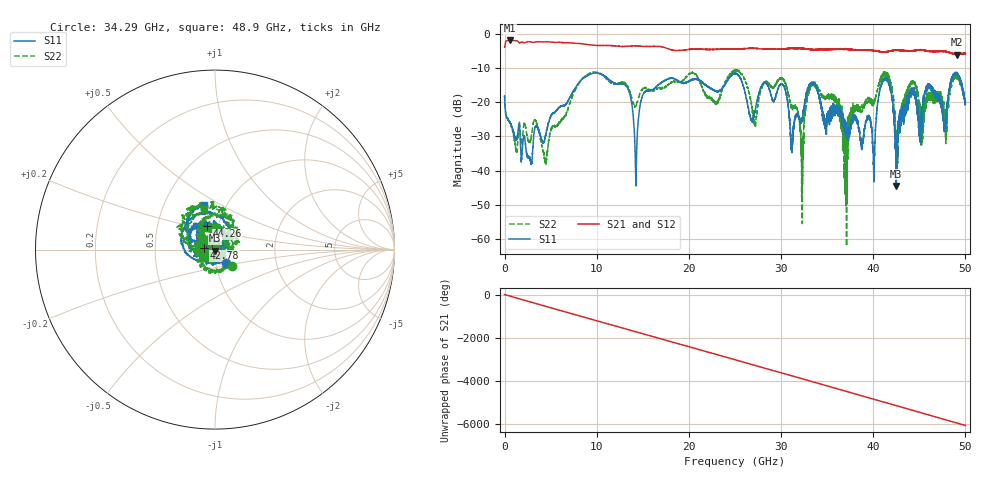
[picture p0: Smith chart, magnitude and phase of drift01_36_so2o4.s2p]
!Created with skrf (http://scikit-rf.org).
# Hz S RI R 50.0
!freq ReS11 ImS11 ReS21 ImS21 ReS12 ImS12 ReS22 ImS22
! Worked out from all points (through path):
!   10001 points, 300 kHz to 50 GHz, reference 50 ohm
!   highest |S21| = -2.00 dB at 570.3 MHz (marker M1); lowest = -6.1 dB at 49.05 GHz (marker M2)
!   group delay of S21, straight-line fit = 336 ps
!   lowest |S11| = -44.5 dB at 42.49 GHz (marker M3), VSWR 1.01, Z = 49.7 - j0.537 ohm
!   |S11| at or under -10 dB: start of sweep to end of sweep
!   |S22| runs from -62.0 to -10.6 dB; largest |S21 - S12| = 0.017
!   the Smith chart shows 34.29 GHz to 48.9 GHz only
!   S11 on the Smith chart (normalised r, x): 34.29 GHz: 1.12, -0.16; 42.78 GHz: 0.89, +0.02; 44.26 GHz: 0.88, +0.24; 48.9 GHz: 0.78, +0.42
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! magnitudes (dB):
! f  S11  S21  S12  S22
! 300 kHz  -18.3  -4.0  -4.0  -18.0
! 570.3 MHz  -25.9  -2.0  -2.0  -26.0
! 4.44 GHz  -29.8  -2.4  -2.4  -37.5
! 8.335 GHz  -13.5  -3.0  -3.0  -13.5
! 13.17 GHz  -15.1  -3.7  -3.7  -14.6
! 14.25 GHz  -44.4  -3.6  -3.6  -21.1
! 16.67 GHz  -14.9  -3.7  -3.7  -15.9
! 25 GHz  -11.6  -4.5  -4.6  -11.0
! 27.15 GHz  -22.6  -4.3  -4.3  -26.0
! 30.22 GHz  -15.1  -4.5  -4.5  -13.2
! 32.25 GHz  -25.2  -4.3  -4.3  -37.6
! 33.34 GHz  -14.2  -4.6  -4.6  -14.8
! 34.29 GHz  -20.5  -4.6  -4.7  -17.7
! 37.04 GHz  -26.9  -4.6  -4.5  -28.5
! 40.06 GHz  -41.8  -4.9  -5.0  -20.2
! 41.67 GHz  -14.2  -5.2  -5.2  -13.1
! 42.49 GHz  -44.5  -4.9  -4.8  -28.7
! 42.78 GHz  -24.3  -4.9  -4.9  -26.0
! 44.26 GHz  -17.2  -5.1  -5.0  -14.0
! 48.9 GHz  -11.8  -5.9  -5.9  -12.7
! 49.05 GHz  -11.8  -6.1  -6.0  -12.5
! 50 GHz  -19.9  -5.8  -5.8  -19.8
